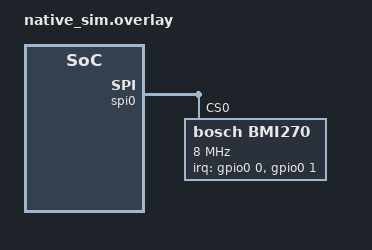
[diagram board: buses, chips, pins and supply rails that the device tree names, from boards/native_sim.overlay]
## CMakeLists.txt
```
# SPDX-License-Identifier: Apache-2.0

cmake_minimum_required(VERSION 3.20.0)
find_package(Zephyr REQUIRED HINTS $ENV{ZEPHYR_BASE})
project(imu_pipeline_test)

# Need the out-of-tree BMI270 emulator (fw/drivers/emul_bmi270)
add_subdirectory(
	${CMAKE_CURRENT_LIST_DIR}/../../../drivers
	${CMAKE_CURRENT_BINARY_DIR}/app_drivers
)

# Compile the real IMU pipeline under test, same pattern as
# tests/sound/audio_dsp does for audio_dsp.cpp
target_sources(app PRIVATE
	src/main.c
	${CMAKE_CURRENT_LIST_DIR}/../../../src/imu/imu.cpp
)
target_include_directories(app PRIVATE ${CMAKE_CURRENT_LIST_DIR}/../../../src)
```

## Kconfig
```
source "Kconfig.zephyr"

rsource "../../../drivers/Kconfig"

# imu.cpp consumes these two app symbols. They're defined in fw/Kconfig, which
# standalone Twister apps don't see — redeclared here with the same names and
# defaults.
config IMU_THREAD_PRIORITY
	int "IMU thread priority"
	default 7

config IMU_THREAD_STACK_SIZE
	int "IMU thread stack size (bytes)"
	default 1024

# imu.cpp's ordering BUILD_ASSERT compares against the pattern controller's priority.
# Redeclared with the same default as fw/Kconfig so the assert is exercised here too.
config APP_PATTERN_CONTROLLER_THREAD_PRIORITY
	int "Pattern controller (render) thread priority"
	default 4
```

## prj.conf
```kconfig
CONFIG_ZTEST=y

# imu.cpp is C++
CONFIG_CPP=y

CONFIG_SENSOR=y
CONFIG_SPI=y
CONFIG_GPIO=y

# The emulated bus/device layer (SPI_EMUL and GPIO_EMUL default to y on
# native_sim once their devicetree nodes exist; CONFIG_BMI270 defaults to y
# on the overlay's bosch,bmi270 node)
CONFIG_EMUL=y
CONFIG_EMUL_BMI270=y

# imu_init() calls sensor_trigger_set() unconditionally and fails hard
# without a trigger implementation
CONFIG_BMI270_TRIGGER_OWN_THREAD=y

# The bmi270 driver and the emulator both use CONFIG_SENSOR_LOG_LEVEL, which
# only exists when LOG is enabled
CONFIG_LOG=y
```

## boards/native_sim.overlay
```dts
/*
 * Instantiate a BMI270 on native_sim's emulated SPI controller so imu.cpp's
 * whole pipeline (SYS_INIT -> real bmi270 driver -> imu_thread -> msgq) runs
 * against the out-of-tree emulator (fw/drivers/emul_bmi270).
 *
 * irq-gpios mirrors the proto0 node's INT1/INT2 pair, pointed at native_sim's
 * gpio_emul controller. The driver maps data-ready to INT2 (irq-gpios index
 * 1, here gpio0 pin 1) — the tests fire that pin via gpio_emul_input_set().
 */

&spi0 {
	bmi270: bmi270@0 {
		compatible = "bosch,bmi270";
		reg = <0>;
		spi-max-frequency = <8000000>;
		irq-gpios = <&gpio0 0 GPIO_ACTIVE_HIGH>,
			    <&gpio0 1 GPIO_ACTIVE_HIGH>;
	};
};
```

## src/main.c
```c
/*
 * End-to-end tests for the IMU pipeline (fw/src/imu/imu.cpp) on native_sim.
 *
 * imu.cpp's SYS_INIT hook runs at boot against the real upstream bmi270
 * driver, which talks to the out-of-tree emulator (fw/drivers/emul_bmi270).
 * The tests inject samples through the sensor emulator backend, fire the
 * data-ready interrupt (INT2 = gpio0 pin 1) via gpio_emul, and consume
 * imu_result_q exactly like the Tilt animation does.
 */

#include <math.h>
#include <zephyr/device.h>
#include <zephyr/drivers/emul.h>
#include <zephyr/drivers/emul_sensor.h>
#include <zephyr/drivers/gpio/gpio_emul.h>
#include <zephyr/drivers/sensor.h>
#include <zephyr/kernel.h>
#include <zephyr/ztest.h>

#include "emul_bmi270.h"
#include "imu/imu.h"

/* Register addresses/values, mirroring the driver's private bmi270.h */
#define REG_ACC_CONF     0x40
#define REG_GYR_CONF     0x42
#define REG_INT_MAP_DATA 0x58
#define REG_PWR_CTRL     0x7D

#define ODR_25_HZ 0x06
#define ODR_MSK   0x0F
#define PWR_CTRL_GYR_EN 0x02
#define PWR_CTRL_ACC_EN 0x04
#define INT_MAP_DATA_DRDY_INT2 BIT(6)

static const struct emul *const bmi_emul = EMUL_DT_GET(DT_NODELABEL(bmi270));
static const struct device *const gpio_dev = DEVICE_DT_GET(DT_NODELABEL(gpio0));

static double q31_to_double(q31_t value, int8_t shift)
{
	return ldexp((double)value, shift - 31);
}

/* Pulse INT2 (data-ready). The driver arms an edge-to-active interrupt, so
 * each fire is a full low->high->low pulse. The sleep must outlast the whole
 * trigger-thread + fetch + msgq-put chain: the driver's SPI reads carry
 * k_usleep delays that each round up to a full 10 ms tick on native_sim, so
 * back-to-back pulses spaced only one tick apart coalesce on the driver's
 * semaphore and frames get dropped.
 */
static void fire_drdy(void)
{
	zassert_ok(gpio_emul_input_set(gpio_dev, 1, 1));
	k_msleep(50);
	zassert_ok(gpio_emul_input_set(gpio_dev, 1, 0));
}

/* Per-channel-triple injection state: values as q31 with the backend's shift */
struct injected {
	q31_t values[3];
	q31_t epsilon;
	int8_t shift;
};

/* Inject distinct per-axis values scaled from the backend-reported range:
 * 0 on X, half scale on Y, near negative full scale on Z.
 */
static void inject_triple(enum sensor_channel chan_base, struct injected *inj)
{
	q31_t lower, upper;
	struct sensor_chan_spec spec = {.chan_type = chan_base, .chan_idx = 0};

	zassert_ok(emul_sensor_backend_get_sample_range(bmi_emul, spec, &lower,
							&upper, &inj->epsilon,
							&inj->shift));

	inj->values[0] = 0;
	inj->values[1] = upper / 2;
	inj->values[2] = (q31_t)(-((int64_t)upper * 9 / 10));

	for (int axis = 0; axis < 3; axis++) {
		spec.chan_type = chan_base + axis;
		zassert_ok(emul_sensor_backend_set_channel(bmi_emul, spec,
							   &inj->values[axis],
							   inj->shift));
	}
}

static void check_triple(const struct injected *inj, const float *actual,
			 const char *what)
{
	double eps = q31_to_double(inj->epsilon, inj->shift);

	for (int axis = 0; axis < 3; axis++) {
		double expected = q31_to_double(inj->values[axis], inj->shift);

		/* No %f: CONFIG_CBPRINTF_FP_SUPPORT is off, print micro-units */
		zassert_within((double)actual[axis], expected, eps,
			       "%s axis %d: expected %d, got %d (eps %d, µunits)",
			       what, axis, (int)(expected * 1e6),
			       (int)((double)actual[axis] * 1e6),
			       (int)(eps * 1e6));
	}
}

static void drain_queue(void *fixture)
{
	ARG_UNUSED(fixture);

	struct imu_analysis_result discard;

	while (k_msgq_get(&imu_result_q, &discard, K_NO_WAIT) == 0) {
	}
}

/* imu_thread configures the sensor once at startup (ODR + power enables).
 * Each register write in that sequence carries the driver's 1 ms inter-write
 * delay, which k_usleep rounds up to a full tick on native_sim, so the whole
 * startup takes ~200 ms of simulated time — and it only begins once the ztest
 * (cooperative) thread first yields. Wait for its final register write
 * (PWR_CTRL gaining both enables) before running any test.
 */
static void *wait_for_imu_thread_startup(void)
{
	uint8_t want = PWR_CTRL_ACC_EN | PWR_CTRL_GYR_EN;
	uint8_t reg = 0;

	for (int i = 0; i < 100; i++) {
		zassert_ok(emul_bmi270_get_reg(bmi_emul, REG_PWR_CTRL, &reg, 1));
		if ((reg & want) == want) {
			return NULL;
		}
		k_msleep(10);
	}

	zassert_unreachable("imu_thread never configured PWR_CTRL: 0x%02x", reg);
	return NULL;
}

ZTEST(imu_pipeline, test_boot_configured)
{
	/* imu_init() (SYS_INIT) and imu_thread's startup already ran at boot:
	 * verify their register-visible effects in the emulator. The ODR
	 * checks lock in the uninitialized-val2 regression (25 Hz with
	 * garbage val2 lands outside every ODR bin and powers the sensor
	 * off — see the comment in imu.cpp).
	 */
	uint8_t reg;

	zassert_ok(emul_bmi270_get_reg(bmi_emul, REG_ACC_CONF, &reg, 1));
	zassert_equal(reg & ODR_MSK, ODR_25_HZ, "ACC_CONF ODR bits: 0x%02x", reg);

	zassert_ok(emul_bmi270_get_reg(bmi_emul, REG_GYR_CONF, &reg, 1));
	zassert_equal(reg & ODR_MSK, ODR_25_HZ, "GYR_CONF ODR bits: 0x%02x", reg);

	zassert_ok(emul_bmi270_get_reg(bmi_emul, REG_PWR_CTRL, &reg, 1));
	zassert_equal(reg & (PWR_CTRL_ACC_EN | PWR_CTRL_GYR_EN),
		      PWR_CTRL_ACC_EN | PWR_CTRL_GYR_EN,
		      "PWR_CTRL should enable accel+gyro: 0x%02x", reg);

	/* imu_init()'s sensor_trigger_set() routed data-ready to INT2 */
	zassert_ok(emul_bmi270_get_reg(bmi_emul, REG_INT_MAP_DATA, &reg, 1));
	zassert_equal(reg & INT_MAP_DATA_DRDY_INT2, INT_MAP_DATA_DRDY_INT2,
		      "INT_MAP_DATA: 0x%02x", reg);
}

ZTEST(imu_pipeline, test_sample_roundtrip)
{
	struct injected accel, gyro;
	struct imu_analysis_result frame1, frame2;

	inject_triple(SENSOR_CHAN_ACCEL_X, &accel);
	inject_triple(SENSOR_CHAN_GYRO_X, &gyro);

	fire_drdy();
	zassert_ok(k_msgq_get(&imu_result_q, &frame1, K_MSEC(500)),
		   "no frame published after DRDY");

	check_triple(&accel, &frame1.accel_x, "accel");
	check_triple(&gyro, &frame1.gyro_x, "gyro");

	/* A second frame proves the loop re-arms and seq is contiguous */
	fire_drdy();
	zassert_ok(k_msgq_get(&imu_result_q, &frame2, K_MSEC(500)),
		   "no second frame published");
	zassert_equal(frame2.seq, frame1.seq + 1, "seq %u then %u",
		      frame1.seq, frame2.seq);
}

ZTEST(imu_pipeline, test_queue_overflow_keeps_freshest)
{
	struct injected accel;
	struct imu_analysis_result frame;

	inject_triple(SENSOR_CHAN_ACCEL_X, &accel);

	/* Establish the current seq */
	fire_drdy();
	zassert_ok(k_msgq_get(&imu_result_q, &frame, K_MSEC(500)));

	uint32_t seq0 = frame.seq;

	/* Fire 6 frames without draining into the depth-4 queue: frames 1-4
	 * fill it, frame 5's put fails with -ENOMSG so imu_thread purges and
	 * re-puts, frame 6 lands behind it. Only frames 5 and 6 survive.
	 */
	for (int i = 0; i < 6; i++) {
		fire_drdy();
	}

	/* Let the last frame land before draining, so nothing leaks into the
	 * next test's queue.
	 */
	k_msleep(100);

	int drained = 0;
	uint32_t first_seq = 0;

	while (k_msgq_get(&imu_result_q, &frame, K_NO_WAIT) == 0) {
		if (drained == 0) {
			first_seq = frame.seq;
		}
		drained++;
	}

	zassert_equal(drained, 2, "expected 2 surviving frames, drained %d",
		      drained);
	zassert_equal(first_seq, seq0 + 5,
		      "oldest surviving frame: seq %u, expected %u",
		      first_seq, seq0 + 5);
	zassert_equal(frame.seq, seq0 + 6, "newest frame: seq %u, expected %u",
		      frame.seq, seq0 + 6);
}

ZTEST_SUITE(imu_pipeline, NULL, wait_for_imu_thread_startup, drain_queue, NULL, NULL);
```
